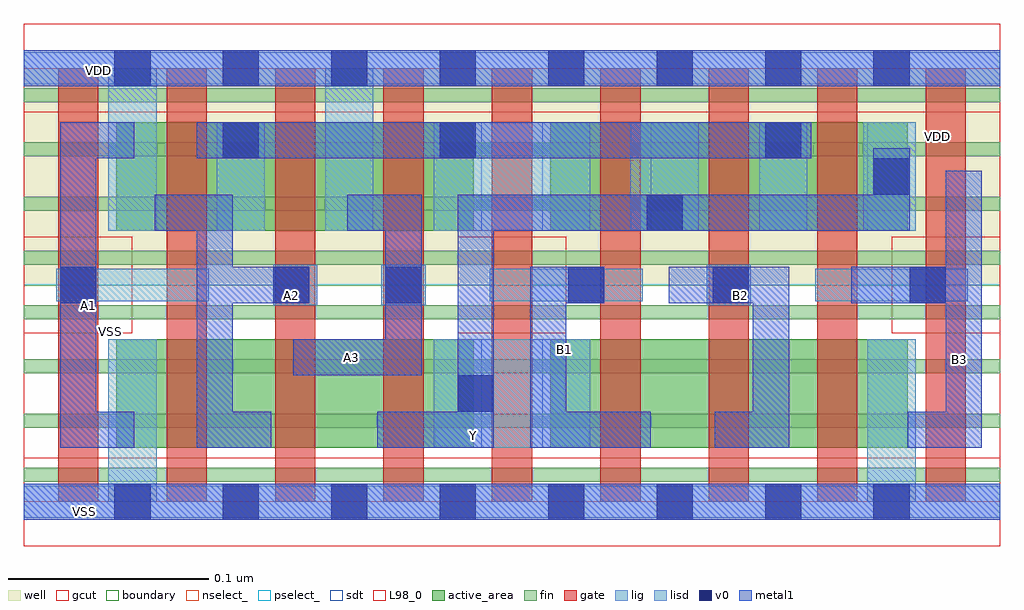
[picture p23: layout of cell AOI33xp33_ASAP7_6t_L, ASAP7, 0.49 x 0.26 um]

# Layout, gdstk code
import gdstk
lib = gdstk.Library(unit=1e-6, precision=2.5e-10)
def R(c, l, rs):  # rectangles x0, y0, x1, y1
    for r in rs: c.add(gdstk.rectangle(r[:2], r[2:], *l))
def A(c, l, x, y, w, h, nx, ny, dx, dy):  # array of equal rectangles
    R(c, l, [(x+i*dx, y+j*dy, x+i*dx+w, y+j*dy+h) for i in range(nx) for j in range(ny)])
def P(c, l, *ps):  # polygons
    for p in ps: c.add(gdstk.Polygon(p, *l))
well = (1, 0)
fin = (2, 0)
gate = (7, 0)
gcut = (10, 0)
active_area = (11, 0)
nselect_ = (12, 0)
pselect_ = (13, 0)
lig = (16, 0)
lisd = (17, 0)
v0 = (18, 0)
metal1 = (19, 0)
sdt = (88, 0)
L98_0 = (98, 0)
boundary = (100, 0)

aoi33xp33_asap7_6t_l = lib.new_cell('AOI33xp33_ASAP7_6t_L')
R(aoi33xp33_asap7_6t_l, well, [(0,0.108,0.486,0.216)])
A(aoi33xp33_asap7_6t_l, fin, 0, 0.01, 0.486, 0.007, 1, 8, 0, 0.027)
A(aoi33xp33_asap7_6t_l, gate, 0.017, 0, 0.02, 0.216, 9, 1, 0.054, 0)
A(aoi33xp33_asap7_6t_l, gcut, 0, 0.084, 0.054, 0.048, 3, 1, 0.216, 0)
R(aoi33xp33_asap7_6t_l, gcut, [(0,-0.022,0.486,0.022), (0,0.194,0.486,0.238)])
R(aoi33xp33_asap7_6t_l, active_area, [(0.046,0.027,0.224,0.081), (0.262,0.027,0.44,0.081), (0.046,0.135,0.224,0.189), (0.262,0.135,0.44,0.189)])
R(aoi33xp33_asap7_6t_l, nselect_, [(0,0,0.486,0.108)])
R(aoi33xp33_asap7_6t_l, pselect_, [(0,0.108,0.486,0.216)])
R(aoi33xp33_asap7_6t_l, lig, [(0,-0.008,0.486,0.008), (0.124,0.098,0.146,0.118), (0.178,0.098,0.2,0.118), (0.34,0.098,0.362,0.118), (0.016,0.1,0.092,0.116), (0.232,0.1,0.308,0.116), (0.394,0.1,0.47,0.116), (0,0.208,0.486,0.224)])
R(aoi33xp33_asap7_6t_l, lisd, [(0.042,0,0.066,0.081), (0.42,0,0.444,0.081), (0.204,0.027,0.282,0.081), (0.042,0.135,0.066,0.216), (0.096,0.135,0.12,0.189), (0.15,0.135,0.174,0.216), (0.204,0.135,0.282,0.189), (0.302,0.135,0.336,0.189), (0.366,0.135,0.39,0.189), (0.418,0.135,0.444,0.189)])
A(aoi33xp33_asap7_6t_l, v0, 0.045, -0.009, 0.018, 0.018, 8, 2, 0.054, 0.216)
R(aoi33xp33_asap7_6t_l, v0, [(0.216,0.045,0.234,0.063), (0.018,0.099,0.036,0.117), (0.124,0.099,0.142,0.117), (0.18,0.099,0.198,0.117), (0.271,0.099,0.289,0.117), (0.343,0.099,0.361,0.117), (0.441,0.099,0.459,0.117), (0.31,0.135,0.328,0.153), (0.423,0.153,0.441,0.171), (0.099,0.171,0.117,0.189), (0.207,0.171,0.225,0.189), (0.369,0.171,0.387,0.189)])
R(aoi33xp33_asap7_6t_l, metal1, [(0,-0.009,0.486,0.009), (0.086,0.171,0.392,0.189), (0,0.207,0.486,0.225)])
P(aoi33xp33_asap7_6t_l, metal1, [(0.441,0.176),(0.423,0.176),(0.423,0.153),(0.216,0.153),(0.216,0.045),(0.176,0.045),(0.176,0.027),(0.234,0.027),(0.234,0.135),(0.441,0.135)],
  [(0.477,0.165),(0.459,0.165),(0.459,0.117),(0.412,0.117),(0.412,0.099),(0.459,0.099),(0.459,0.045),(0.44,0.045),(0.44,0.027),(0.477,0.027)],
  [(0.381,0.117),(0.321,0.117),(0.321,0.099),(0.363,0.099),(0.363,0.045),(0.344,0.045),(0.344,0.027),(0.381,0.027)],
  [(0.312,0.045),(0.27,0.045),(0.27,0.099),(0.289,0.099),(0.289,0.117),(0.252,0.117),(0.252,0.027),(0.312,0.027)],
  [(0.198,0.153),(0.161,0.153),(0.161,0.135),(0.18,0.135),(0.18,0.081),(0.134,0.081),(0.134,0.063),(0.198,0.063)],
  [(0.142,0.117),(0.104,0.117),(0.104,0.153),(0.065,0.153),(0.065,0.135),(0.086,0.135),(0.086,0.027),(0.123,0.027),(0.123,0.045),(0.104,0.045),(0.104,0.099),(0.142,0.099)],
  [(0.055,0.045),(0.036,0.045),(0.036,0.171),(0.055,0.171),(0.055,0.189),(0.018,0.189),(0.018,0.027),(0.055,0.027)])
A(aoi33xp33_asap7_6t_l, sdt, 0.042, 0.135, 0.024, 0.054, 8, 1, 0.054, 0)
R(aoi33xp33_asap7_6t_l, sdt, [(0.042,0.027,0.066,0.081), (0.204,0.027,0.228,0.081), (0.258,0.027,0.282,0.081), (0.42,0.027,0.444,0.081)])
R(aoi33xp33_asap7_6t_l, L98_0, [(0,0,0.486,0.216)])
R(aoi33xp33_asap7_6t_l, boundary, [(0,0,0.486,0.216)])
aoi33xp33_asap7_6t_l.add(gdstk.Label('VDD', (0.037,0.215), layer=19, texttype=251))
aoi33xp33_asap7_6t_l.add(gdstk.Label('A2', (0.133,0.103), layer=19, texttype=251))
aoi33xp33_asap7_6t_l.add(gdstk.Label('B2', (0.357,0.103), layer=19, texttype=251))
aoi33xp33_asap7_6t_l.add(gdstk.Label('A1', (0.032,0.098), layer=19, texttype=251))
aoi33xp33_asap7_6t_l.add(gdstk.Label('B1', (0.269,0.076), layer=19, texttype=251))
aoi33xp33_asap7_6t_l.add(gdstk.Label('A3', (0.163,0.072), layer=19, texttype=251))
aoi33xp33_asap7_6t_l.add(gdstk.Label('B3', (0.466,0.071), layer=19, texttype=251))
aoi33xp33_asap7_6t_l.add(gdstk.Label('Y', (0.224,0.033), layer=19, texttype=251))
aoi33xp33_asap7_6t_l.add(gdstk.Label('VSS', (0.03,-0.005), layer=19, texttype=251))
aoi33xp33_asap7_6t_l.add(gdstk.Label('VSS', (0.043,0.085), layer=3, texttype=251))
aoi33xp33_asap7_6t_l.add(gdstk.Label('VDD', (0.455,0.182), layer=1, texttype=251))

lib.write_gds('AOI33xp33_ASAP7_6t_L.gds')
